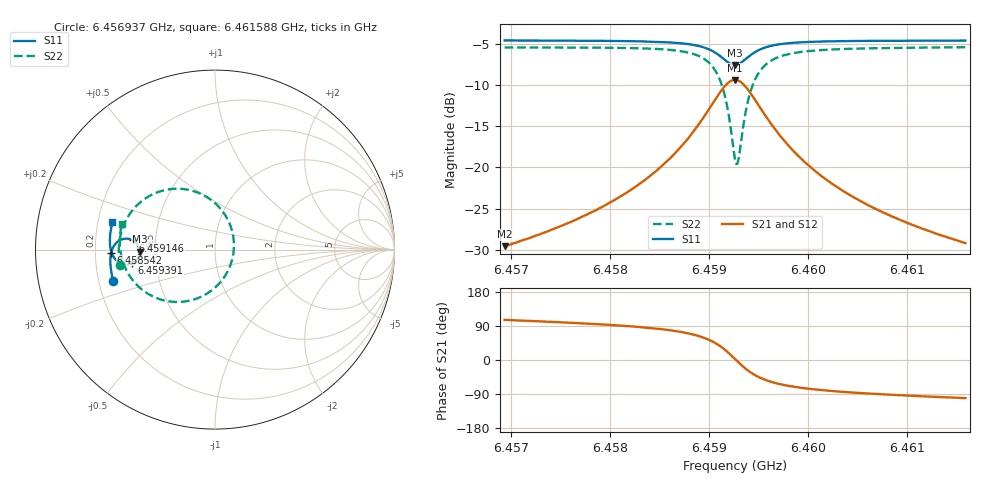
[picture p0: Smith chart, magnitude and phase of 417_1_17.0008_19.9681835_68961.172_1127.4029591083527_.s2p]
#  HZ  S  RI  R  50.00
! Rohde & Schwarz Vector Network Analyzer
! Rohde-Schwarz,ZNB20-2Port,1311601062101988,3.16
! Created: UTC 3/20/2024, 11:10:47 PM
! freq[Hz]  re:S11  im:S11  re:S21  im:S21  re:S12  im:S12  re:S22  im:S22
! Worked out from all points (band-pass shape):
!   401 points, 6.456937 GHz to 6.461588 GHz, reference 50 ohm
!   highest |S21| = -9.34 dB at 6.459263 GHz (marker M1); lowest = -29.6 dB at 6.456937 GHz (marker M2)
!   |S21| within 3 dB of the highest: 6.45903 GHz to 6.459496 GHz (465.2 kHz wide, 0.0072 % of centre)
!   lowest |S11| = -7.5 dB at 6.459263 GHz (marker M3), VSWR 2.45, Z = 20.4 - j0.543 ohm
!   |S11| at or under -10 dB: nowhere
!   |S22| runs from -19.6 to -5.4 dB; largest |S21 - S12| = 0.013
!   S11 on the Smith chart (normalised r, x): 6.456937 GHz: 0.26, -0.14; 6.458542 GHz: 0.27, -0.01; 6.459146 GHz: 0.37, +0.05; 6.459391 GHz: 0.37, -0.07; 6.461588 GHz: 0.26, +0.12
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6.4569374e9  -0.5657 -0.1752  -0.0091 0.032  -0.00733 0.032  -0.5298 -0.0882
6.4577164e9  -0.5802 -0.1073  -0.00583 0.0498  -0.00346 0.0491  -0.5359 0.00197
6.4581814e9  -0.5834 -0.0607  0.000767 0.0711  0.00404 0.0698  -0.5271 0.0758
6.4584954e9  -0.5799 -0.0232  0.0136 0.0975  0.0175 0.0949  -0.5039 0.1467
6.4585419e9  -0.5784 -0.0168  0.0167 0.1029  0.0209 0.0999  -0.4976 0.1598
6.4587512e9  -0.5665 0.0149  0.0426 0.1343  0.0468 0.1296  -0.4497 0.231
6.4589023e9  -0.5455 0.0413  0.0847 0.1644  0.088 0.158  -0.3721 0.295
6.4590534e9  -0.4997 0.061  0.1754 0.1835  0.1764 0.1762  -0.2063 0.3392
6.4591465e9  -0.4557 0.051  0.2643 0.153  0.2646 0.1471  -0.0417 0.2906
6.459193e9  -0.4348 0.0324  0.3077 0.1108  0.3087 0.1055  0.0402 0.2156
6.4592627e9  -0.4201 -0.011  0.3409 0.0153  0.3444 0.00832  0.1053 0.0387
6.4592744e9  -0.4204 -0.0188  0.3406 -0.00231  0.3445 -0.00976  0.1051 0.00554
6.4592976e9  -0.4239 -0.0343  0.3353 -0.0366  0.339 -0.0454  0.0946 -0.0595
6.4593906e9  -0.4611 -0.076  0.2661 -0.1365  0.2653 -0.1495  -0.045 -0.2453
6.4594371e9  -0.4836 -0.0829  0.2222 -0.1589  0.2184 -0.1715  -0.133 -0.2822
6.4594953e9  -0.5084 -0.082  0.1734 -0.1683  0.167 -0.1792  -0.2288 -0.2913
6.4596464e9  -0.5493 -0.0604  0.0911 -0.1524  0.0828 -0.1581  -0.3851 -0.2386
6.4598092e9  -0.5695 -0.0329  0.0491 -0.1252  0.0416 -0.1278  -0.4603 -0.1686
6.4600417e9  -0.5812 0.000742  0.0223 -0.0959  0.0165 -0.0965  -0.5045 -0.0916
6.4603673e9  -0.5855 0.0394  0.00695 -0.0708  0.00287 -0.0704  -0.5252 -0.0174
6.4608207e9  -0.5836 0.085  -0.00133 -0.0512  -0.0041 -0.0504  -0.5301 0.0549
6.4615881e9  -0.5711 0.1526  -0.00641 -0.0341  -0.00809 -0.0333  -0.5189 0.1447
